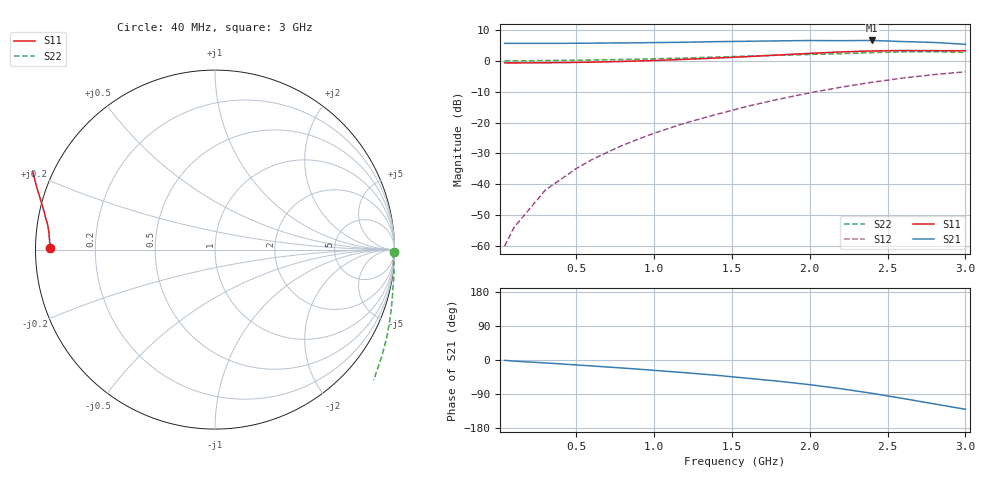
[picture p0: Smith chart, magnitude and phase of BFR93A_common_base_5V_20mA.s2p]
! Filename:  BFR93ACC.S2P  Version:  2.0
! Philips part #: BFR93A  Date: Jul 1990
! Bias condition: Vce=5V, Ic=20mA
! COMMON BASE
#  MHz  S  MA  R  50
! Freq  S11  S21  S12  S22
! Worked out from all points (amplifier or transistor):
!   21 points, 40 MHz to 3 GHz, reference 50 ohm
!   highest |S21| = 6.5 dB at 2.4 GHz (marker M1)
!   |S21| within 3 dB of that: start of sweep to end of sweep
!   unconditionally stable (mu >= 1): nowhere
!   at 300 MHz: K = -0.68, MSG = 23.8 dB, |S12| = -41.9 dB
!   at 1 GHz: K = -0.94, MSG = 14.7 dB, |S12| = -23.5 dB
!   at 3 GHz: K = -0.83, MSG = 4.4 dB, |S12| = -3.6 dB
40  0.922 179.4  1.905 -0.9  0.001 45.4  0.996 -0.9
100  0.921 178.2  1.904 -2.9  0.002 84.9  0.994 -2.7
200  0.923 176.8  1.907 -5.3  0.004 113.5  0.999 -5.0
300  0.927 175.4  1.906 -7.7  0.008 127.4  1.007 -7.5
400  0.931 173.9  1.906 -10.3  0.012 133.9  1.01 -10.1
500  0.938 172.4  1.915 -13.1  0.018 139.1  1.016 -12.8
600  0.947 170.9  1.922 -15.7  0.025 141.2  1.025 -15.5
700  0.961 169.3  1.932 -18.5  0.033 142.6  1.035 -18.2
800  0.973 167.7  1.938 -21.3  0.043 144.2  1.046 -21.0
900  0.99 166.0  1.947 -24.2  0.054 145.1  1.058 -23.7
1000  1.008 164.3  1.963 -27.3  0.067 144.6  1.073 -26.7
1200  1.051 160.8  1.988 -33.5  0.098 143.5  1.105 -32.9
1400  1.104 156.9  2.032 -40.3  0.135 140.8  1.145 -39.5
1600  1.162 152.5  2.06 -48.2  0.183 137.8  1.186 -46.6
1800  1.236 147.4  2.092 -56.0  0.238 133.0  1.224 -54.6
2000  1.312 142.0  2.118 -65.1  0.302 127.7  1.262 -63.7
2200  1.386 136.2  2.107 -75.8  0.372 121.4  1.3 -74.5
2400  1.438 129.0  2.124 -87.9  0.448 113.6  1.352 -86.0
2600  1.46 120.7  2.037 -101.6  0.524 105.4  1.388 -97.6
2800  1.453 111.0  1.971 -115.9  0.597 96.1  1.396 -109.4
3000  1.445 101.4  1.84 -130.0  0.661 88.2  1.359 -120.9
